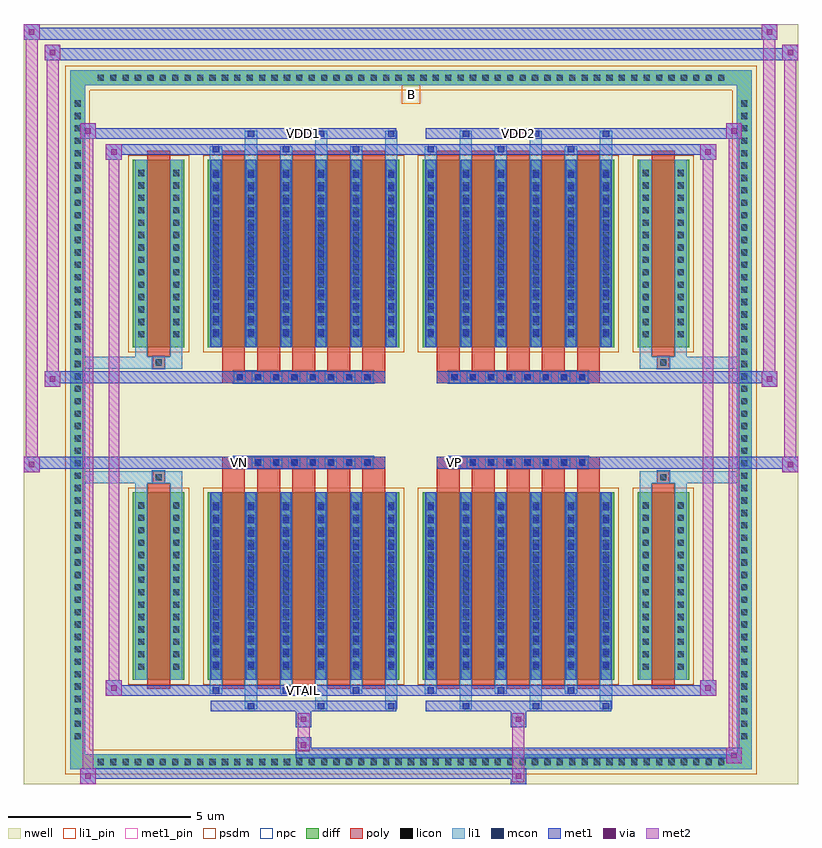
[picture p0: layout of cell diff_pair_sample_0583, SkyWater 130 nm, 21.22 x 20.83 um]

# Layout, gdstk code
import gdstk
lib = gdstk.Library(unit=1e-6, precision=5e-09)
def R(c, l, rs):  # rectangles x0, y0, x1, y1
    for r in rs: c.add(gdstk.rectangle(r[:2], r[2:], *l))
def A(c, l, x, y, w, h, nx, ny, dx, dy):  # array of equal rectangles
    R(c, l, [(x+i*dx, y+j*dy, x+i*dx+w, y+j*dy+h) for i in range(nx) for j in range(ny)])
def P(c, l, *ps):  # polygons
    for p in ps: c.add(gdstk.Polygon(p, *l))
nwell = (64, 20)
diff = (65, 20)
poly = (66, 20)
licon = (66, 44)
li1_pin = (67, 16)
li1 = (67, 20)
mcon = (67, 44)
met1_pin = (68, 16)
met1 = (68, 20)
via = (68, 44)
met2 = (69, 20)
psdm = (94, 20)
npc = (95, 20)

diff_pair_sample_0583 = lib.new_cell('diff_pair_sample_0583')
R(diff_pair_sample_0583, nwell, [(-10.61,-9.98,10.61,10.85), (-7.93,-8.17,-0.01,-0.805), (0.01,-8.17,7.93,-0.805), (-7.93,0.805,-0.01,8.17), (0.01,0.805,7.93,8.17)])
A(diff_pair_sample_0583, diff, -8.705, -9.58, 0.41, 0.41, 51, 2, 0.34, 18.75)
A(diff_pair_sample_0583, diff, -9.34, -8.875, 0.41, 0.41, 1, 52, 0, 0.34)
A(diff_pair_sample_0583, diff, 8.93, -8.875, 0.41, 0.41, 1, 52, 0, 0.34)
R(diff_pair_sample_0583, diff, [(-8.705,-9.58,8.705,-9.17), (-9.34,-8.875,-8.93,8.875), (8.93,-8.875,9.34,8.875), (-7.62,-7.125,-6.21,-1.985), (-5.57,-7.125,-0.32,-1.985), (0.32,-7.125,5.57,-1.985), (6.21,-7.125,7.62,-1.985), (-7.62,1.985,-6.21,7.125), (-5.57,1.985,-0.32,7.125), (0.32,1.985,5.57,7.125), (6.21,1.985,7.62,7.125), (-8.705,9.17,8.705,9.58)])
P(diff_pair_sample_0583, diff, [(9.34,9.58),(-9.34,9.58),(-9.34,-9.17),(-8.93,-9.17),(-8.93,9.17),(8.93,9.17),(8.93,-9.17),(-8.93,-9.17),(-9.34,-9.17),(-9.34,-9.58),(9.34,-9.58)])
A(diff_pair_sample_0583, poly, -5.18, -7.375, 0.63, 5.64, 5, 2, 0.96, 9.11)
A(diff_pair_sample_0583, poly, 0.71, -7.375, 0.63, 5.64, 5, 2, 0.96, 9.11)
A(diff_pair_sample_0583, poly, -5.18, -1.735, 0.63, 0.4, 5, 2, 0.96, 3.07)
A(diff_pair_sample_0583, poly, 0.71, -1.735, 0.63, 0.4, 5, 2, 0.96, 3.07)
A(diff_pair_sample_0583, poly, -4.86, -1.335, 0.33, 0.33, 8, 2, 0.5, 2.34)
A(diff_pair_sample_0583, poly, 1.03, -1.335, 0.33, 0.33, 8, 2, 0.5, 2.34)
R(diff_pair_sample_0583, poly, [(-7.23,-7.375,-6.6,-1.735), (6.6,-7.375,7.23,-1.735), (-7.08,-1.735,-6.75,-1.405), (-7.08,-1.735,-6.75,-1.405), (6.75,-1.735,7.08,-1.405), (6.75,-1.735,7.08,-1.405), (-5.18,-1.335,-0.71,-1.005), (0.71,-1.335,5.18,-1.005), (-5.18,1.005,-0.71,1.335), (0.71,1.005,5.18,1.335), (-7.08,1.405,-6.75,1.735), (-7.08,1.405,-6.75,1.735), (6.75,1.405,7.08,1.735), (6.75,1.405,7.08,1.735), (-7.23,1.735,-6.6,7.375), (6.6,1.735,7.23,7.375)])
A(diff_pair_sample_0583, licon, -8.585, -9.46, 0.17, 0.17, 51, 2, 0.34, 18.75)
A(diff_pair_sample_0583, licon, -9.22, -8.755, 0.17, 0.17, 1, 52, 0, 0.34)
A(diff_pair_sample_0583, licon, 9.05, -8.755, 0.17, 0.17, 1, 52, 0, 0.34)
A(diff_pair_sample_0583, licon, -7.48, -6.85, 0.17, 0.17, 1, 14, 0, 0.34)
A(diff_pair_sample_0583, licon, -6.52, -6.85, 0.17, 0.17, 1, 14, 0, 0.34)
A(diff_pair_sample_0583, licon, -5.43, -6.85, 0.17, 0.17, 6, 14, 0.96, 0.34)
A(diff_pair_sample_0583, licon, 0.46, -6.85, 0.17, 0.17, 6, 14, 0.96, 0.34)
A(diff_pair_sample_0583, licon, 6.35, -6.85, 0.17, 0.17, 1, 14, 0, 0.34)
A(diff_pair_sample_0583, licon, 7.31, -6.85, 0.17, 0.17, 1, 14, 0, 0.34)
A(diff_pair_sample_0583, licon, -4.78, -1.255, 0.17, 0.17, 8, 2, 0.5, 2.34)
A(diff_pair_sample_0583, licon, 1.11, -1.255, 0.17, 0.17, 8, 2, 0.5, 2.34)
A(diff_pair_sample_0583, licon, -7.48, 2.26, 0.17, 0.17, 1, 14, 0, 0.34)
A(diff_pair_sample_0583, licon, -6.52, 2.26, 0.17, 0.17, 1, 14, 0, 0.34)
A(diff_pair_sample_0583, licon, -5.43, 2.26, 0.17, 0.17, 6, 14, 0.96, 0.34)
A(diff_pair_sample_0583, licon, 0.46, 2.26, 0.17, 0.17, 6, 14, 0.96, 0.34)
A(diff_pair_sample_0583, licon, 6.35, 2.26, 0.17, 0.17, 1, 14, 0, 0.34)
A(diff_pair_sample_0583, licon, 7.31, 2.26, 0.17, 0.17, 1, 14, 0, 0.34)
R(diff_pair_sample_0583, licon, [(-7,-1.655,-6.83,-1.485), (6.83,-1.655,7,-1.485), (-7,1.485,-6.83,1.655), (6.83,1.485,7,1.655)])
R(diff_pair_sample_0583, li1_pin, [(-0.25,8.67,0.25,9.17)])
A(diff_pair_sample_0583, li1, -8.665, -9.54, 0.33, 0.33, 51, 2, 0.34, 18.75)
A(diff_pair_sample_0583, li1, -9.3, -8.835, 0.33, 0.33, 1, 52, 0, 0.34)
A(diff_pair_sample_0583, li1, 8.97, -8.835, 0.33, 0.33, 1, 52, 0, 0.34)
A(diff_pair_sample_0583, li1, -4.55, -7.93, 0.33, 0.805, 3, 2, 1.92, 15.055)
A(diff_pair_sample_0583, li1, -4.47, -7.93, 0.17, 0.17, 3, 2, 1.92, 15.69)
A(diff_pair_sample_0583, li1, 1.34, -7.93, 0.33, 0.805, 3, 2, 1.92, 15.055)
A(diff_pair_sample_0583, li1, 1.42, -7.93, 0.17, 0.17, 3, 2, 1.92, 15.69)
A(diff_pair_sample_0583, li1, -5.51, -7.5, 0.33, 0.375, 3, 2, 1.92, 14.625)
A(diff_pair_sample_0583, li1, -5.43, -7.5, 0.17, 0.17, 3, 2, 1.92, 14.83)
A(diff_pair_sample_0583, li1, 0.38, -7.5, 0.33, 0.375, 3, 2, 1.92, 14.625)
A(diff_pair_sample_0583, li1, 0.46, -7.5, 0.17, 0.17, 3, 2, 1.92, 14.83)
A(diff_pair_sample_0583, li1, -5.51, -7.125, 0.33, 5.14, 6, 2, 0.96, 9.11)
A(diff_pair_sample_0583, li1, 0.38, -7.125, 0.33, 5.14, 6, 2, 0.96, 9.11)
A(diff_pair_sample_0583, li1, -7.56, -6.93, 0.33, 0.33, 1, 14, 0, 0.34)
A(diff_pair_sample_0583, li1, -6.6, -6.93, 0.33, 0.33, 1, 14, 0, 0.34)
A(diff_pair_sample_0583, li1, -5.51, -6.93, 0.33, 0.33, 6, 14, 0.96, 0.34)
A(diff_pair_sample_0583, li1, 0.38, -6.93, 0.33, 0.33, 6, 14, 0.96, 0.34)
A(diff_pair_sample_0583, li1, 6.27, -6.93, 0.33, 0.33, 1, 14, 0, 0.34)
A(diff_pair_sample_0583, li1, 7.23, -6.93, 0.33, 0.33, 1, 14, 0, 0.34)
A(diff_pair_sample_0583, li1, -5.43, -6.8, 0.17, 0.17, 6, 13, 0.96, 0.36)
A(diff_pair_sample_0583, li1, -5.43, -6.8, 0.17, 4.49, 6, 2, 0.96, 9.11)
A(diff_pair_sample_0583, li1, 0.46, -6.8, 0.17, 0.17, 6, 13, 0.96, 0.36)
A(diff_pair_sample_0583, li1, 0.46, -6.8, 0.17, 4.49, 6, 2, 0.96, 9.11)
A(diff_pair_sample_0583, li1, -4.86, -1.335, 0.33, 0.33, 8, 2, 0.5, 2.34)
A(diff_pair_sample_0583, li1, 1.03, -1.335, 0.33, 0.33, 8, 2, 0.5, 2.34)
A(diff_pair_sample_0583, li1, -7.56, 2.18, 0.33, 0.33, 1, 14, 0, 0.34)
A(diff_pair_sample_0583, li1, -6.6, 2.18, 0.33, 0.33, 1, 14, 0, 0.34)
A(diff_pair_sample_0583, li1, -5.51, 2.18, 0.33, 0.33, 6, 14, 0.96, 0.34)
A(diff_pair_sample_0583, li1, 0.38, 2.18, 0.33, 0.33, 6, 14, 0.96, 0.34)
A(diff_pair_sample_0583, li1, 6.27, 2.18, 0.33, 0.33, 1, 14, 0, 0.34)
A(diff_pair_sample_0583, li1, 7.23, 2.18, 0.33, 0.33, 1, 14, 0, 0.34)
A(diff_pair_sample_0583, li1, -5.43, 2.31, 0.17, 0.17, 6, 13, 0.96, 0.36)
A(diff_pair_sample_0583, li1, 0.46, 2.31, 0.17, 0.17, 6, 13, 0.96, 0.36)
R(diff_pair_sample_0583, li1, [(-9.34,-9.58,-8.93,-9.17), (-9.34,-9.58,-8.93,-9.17), (-8.93,-9.58,8.93,-9.17), (8.93,-9.58,9.34,-9.17), (8.93,-9.58,9.34,-9.17), (-9.34,-9.17,-8.93,9.17), (8.93,-9.17,9.34,9.17), (-7.56,-7.125,-7.23,-1.985), (-6.6,-7.125,-6.27,-1.985), (6.27,-7.125,6.6,-1.985), (7.23,-7.125,7.56,-1.985), (-7.56,-1.985,-7.23,-1.405), (-6.6,-1.985,-6.27,-1.405), (6.27,-1.985,6.6,-1.405), (7.23,-1.985,7.56,-1.405), (-9.34,-1.735,-7.08,-1.405), (-7.56,-1.735,-7.08,-1.405), (-7.08,-1.735,-6.75,-1.405), (-6.75,-1.735,-6.27,-1.405), (6.27,-1.735,6.75,-1.405), (6.75,-1.735,7.08,-1.405), (6.75,-1.735,9.34,-1.405), (7.08,-1.735,7.56,-1.405), (-9.34,1.405,-7.08,1.735), (-7.56,1.405,-7.08,1.735), (-7.56,1.405,-7.23,1.985), (-7.08,1.405,-6.75,1.735), (-6.75,1.405,-6.27,1.735), (-6.6,1.405,-6.27,1.985), (6.27,1.405,6.75,1.735), (6.27,1.405,6.6,1.985), (6.75,1.405,7.08,1.735), (6.75,1.405,9.34,1.735), (7.08,1.405,7.56,1.735), (7.23,1.405,7.56,1.985), (-7.56,1.985,-7.23,7.125), (-6.6,1.985,-6.27,7.125), (6.27,1.985,6.6,7.125), (7.23,1.985,7.56,7.125), (-9.34,9.17,-8.93,9.58), (-9.34,9.17,-8.93,9.58), (-8.93,9.17,8.93,9.58), (8.93,9.17,9.34,9.58), (8.93,9.17,9.34,9.58)])
A(diff_pair_sample_0583, mcon, -4.47, -7.93, 0.17, 0.17, 3, 2, 1.92, 15.69)
A(diff_pair_sample_0583, mcon, 1.42, -7.93, 0.17, 0.17, 3, 2, 1.92, 15.69)
A(diff_pair_sample_0583, mcon, -5.43, -7.5, 0.17, 0.17, 3, 2, 1.92, 14.83)
A(diff_pair_sample_0583, mcon, 0.46, -7.5, 0.17, 0.17, 3, 2, 1.92, 14.83)
A(diff_pair_sample_0583, mcon, -5.43, -6.8, 0.17, 0.17, 6, 13, 0.96, 0.36)
A(diff_pair_sample_0583, mcon, 0.46, -6.8, 0.17, 0.17, 6, 13, 0.96, 0.36)
A(diff_pair_sample_0583, mcon, -4.78, -1.255, 0.17, 0.17, 8, 2, 0.5, 2.34)
A(diff_pair_sample_0583, mcon, 1.11, -1.255, 0.17, 0.17, 8, 2, 0.5, 2.34)
A(diff_pair_sample_0583, mcon, -5.43, 2.31, 0.17, 0.17, 6, 13, 0.96, 0.36)
A(diff_pair_sample_0583, mcon, 0.46, 2.31, 0.17, 0.17, 6, 13, 0.96, 0.36)
R(diff_pair_sample_0583, met1_pin, [(-3.08,-7.54,-2.81,-7.27), (-4.83,-1.295,-4.56,-1.025), (1.06,-1.295,1.33,-1.025), (-3.08,7.72,-2.81,7.99), (2.81,7.72,3.08,7.99)])
A(diff_pair_sample_0583, met1, -4.53, -7.99, 0.29, 0.29, 3, 2, 1.92, 15.69)
A(diff_pair_sample_0583, met1, 1.36, -7.99, 0.29, 0.29, 3, 2, 1.92, 15.69)
A(diff_pair_sample_0583, met1, -5.49, -7.56, 0.29, 0.29, 3, 2, 1.92, 14.83)
A(diff_pair_sample_0583, met1, 0.4, -7.56, 0.29, 0.29, 3, 2, 1.92, 14.83)
A(diff_pair_sample_0583, met1, -5.49, -7.125, 0.29, 5.14, 6, 2, 0.96, 9.11)
A(diff_pair_sample_0583, met1, 0.4, -7.125, 0.29, 5.14, 6, 2, 0.96, 9.11)
A(diff_pair_sample_0583, met1, -5.49, -6.86, 0.29, 0.29, 6, 13, 0.96, 0.36)
A(diff_pair_sample_0583, met1, 0.4, -6.86, 0.29, 0.29, 6, 13, 0.96, 0.36)
A(diff_pair_sample_0583, met1, -4.84, -1.315, 0.29, 0.29, 8, 2, 0.5, 2.34)
A(diff_pair_sample_0583, met1, 1.05, -1.315, 0.29, 0.29, 8, 2, 0.5, 2.34)
A(diff_pair_sample_0583, met1, -5.49, 2.25, 0.29, 0.29, 6, 13, 0.96, 0.36)
A(diff_pair_sample_0583, met1, 0.4, 2.25, 0.29, 0.29, 6, 13, 0.96, 0.36)
R(diff_pair_sample_0583, met1, [(-9.07,-9.98,-8.64,-9.55), (2.73,-9.98,3.16,-9.55), (-9.07,-9.84,3.16,-9.55), (8.64,-9.41,9.07,-8.98), (-3.16,-9.27,9.07,-8.98), (-3.16,-9.13,-2.73,-8.7), (-3.16,-8.42,-2.73,-7.99), (2.73,-8.42,3.16,-7.99), (-5.49,-7.99,-0.4,-7.7), (0.4,-7.99,5.49,-7.7), (-8.36,-7.56,-7.93,-7.13), (-8.36,-7.56,-5.49,-7.27), (-5.49,-7.56,-0.4,-7.27), (-0.4,-7.56,0.4,-7.27), (0.4,-7.56,5.49,-7.27), (5.49,-7.56,8.36,-7.27), (7.93,-7.56,8.36,-7.13), (-10.61,-1.435,-10.18,-1.005), (10.18,-1.435,10.61,-1.005), (-10.61,-1.335,-0.71,-1.005), (-5.18,-1.335,-0.71,-1.005), (0.71,-1.335,5.18,-1.005), (0.71,-1.335,10.61,-1.005), (-10.04,0.905,-9.61,1.335), (9.61,0.905,10.04,1.335), (-10.04,1.005,-5.18,1.335), (-5.18,1.005,-0.71,1.335), (0.71,1.005,5.18,1.335), (5.18,1.005,10.04,1.335), (-8.36,7.13,-7.93,7.56), (7.93,7.13,8.36,7.56), (-8.36,7.27,-5.49,7.56), (-5.49,7.27,-0.4,7.56), (-0.4,7.27,0.4,7.56), (0.4,7.27,5.49,7.56), (5.49,7.27,8.36,7.56), (-9.07,7.7,-8.64,8.13), (-9.07,7.7,-5.49,7.99), (-5.49,7.7,-0.4,7.99), (0.4,7.7,5.49,7.99), (5.49,7.7,9.07,7.99), (8.64,7.7,9.07,8.13), (-10.04,9.85,-9.61,10.28), (-10.04,9.85,-7.93,10.18), (-7.93,9.85,7.93,10.18), (7.93,9.85,10.61,10.18), (10.18,9.85,10.61,10.28), (-10.61,10.42,-10.18,10.85), (-10.61,10.42,-7.93,10.75), (-7.93,10.42,7.93,10.75), (7.93,10.42,10.04,10.75), (9.61,10.42,10.04,10.85)])
R(diff_pair_sample_0583, via, [(-8.93,-9.84,-8.78,-9.69), (2.87,-9.84,3.02,-9.69), (8.78,-9.27,8.93,-9.12), (-3.02,-8.99,-2.87,-8.84), (-3.02,-8.28,-2.87,-8.13), (2.87,-8.28,3.02,-8.13), (-8.22,-7.42,-8.07,-7.27), (8.07,-7.42,8.22,-7.27), (-10.47,-1.295,-10.32,-1.145), (10.32,-1.295,10.47,-1.145), (-9.9,1.045,-9.75,1.195), (9.75,1.045,9.9,1.195), (-8.22,7.27,-8.07,7.42), (8.07,7.27,8.22,7.42), (-8.93,7.84,-8.78,7.99), (8.78,7.84,8.93,7.99), (-9.9,9.99,-9.75,10.14), (10.32,9.99,10.47,10.14), (-10.47,10.56,-10.32,10.71), (9.75,10.56,9.9,10.71)])
R(diff_pair_sample_0583, met2, [(-9.07,-9.98,-8.64,-9.55), (-9,-9.98,-8.71,8.13), (-8.71,-9.98,-8.64,-9.55), (-9.02,-9.93,-8.69,-9.6), (2.78,-9.93,3.11,-9.6), (2.78,-9.6,3.11,-8.37), (8.64,-9.41,9.07,-8.98), (8.71,-9.41,9,8.13), (9,-9.41,9.07,-8.98), (8.69,-9.36,9.02,-9.03), (-3.11,-9.08,-2.78,-8.75), (-3.11,-8.75,-2.78,-8.37), (-3.11,-8.37,-2.78,-8.04), (2.78,-8.37,3.11,-8.04), (-8.36,-7.56,-7.93,-7.13), (-8.29,-7.56,-8,7.56), (-8,-7.56,-7.93,-7.13), (7.93,-7.56,8.36,-7.13), (8,-7.56,8.29,7.56), (8.29,-7.56,8.36,-7.13), (-8.31,-7.51,-7.98,-7.18), (7.98,-7.51,8.31,-7.18), (-10.61,-1.435,-10.18,-1.005), (-10.56,-1.435,-10.23,10.85), (-10.23,-1.435,-10.18,-1.005), (10.18,-1.435,10.61,-1.005), (10.23,-1.435,10.56,10.28), (10.56,-1.435,10.61,-1.005), (-10.56,-1.385,-10.23,-1.055), (10.23,-1.385,10.56,-1.055), (-10.04,0.905,-9.61,1.335), (-9.99,0.905,-9.66,10.28), (-9.66,0.905,-9.61,1.335), (9.61,0.905,10.04,1.335), (9.66,0.905,9.99,10.85), (9.99,0.905,10.04,1.335), (-9.99,0.955,-9.66,1.285), (9.66,0.955,9.99,1.285), (-8.36,7.13,-7.93,7.56), (-8,7.13,-7.93,7.56), (7.93,7.13,8.36,7.56), (8.29,7.13,8.36,7.56), (-8.31,7.18,-7.98,7.51), (7.98,7.18,8.31,7.51), (-9.07,7.7,-8.64,8.13), (-8.71,7.7,-8.64,8.13), (8.64,7.7,9.07,8.13), (9,7.7,9.07,8.13), (-9.02,7.75,-8.69,8.08), (8.69,7.75,9.02,8.08), (-10.04,9.85,-9.61,10.28), (-9.66,9.85,-9.61,10.28), (10.18,9.85,10.61,10.28), (10.56,9.85,10.61,10.28), (-9.99,9.9,-9.66,10.23), (10.23,9.9,10.56,10.23), (-10.61,10.42,-10.18,10.85), (-10.23,10.42,-10.18,10.85), (9.61,10.42,10.04,10.85), (9.99,10.42,10.04,10.85), (-10.56,10.47,-10.23,10.8), (9.66,10.47,9.99,10.8)])
R(diff_pair_sample_0583, psdm, [(-7.75,-7.255,-6.08,-1.855), (-5.7,-7.255,-0.19,-1.855), (0.19,-7.255,5.7,-1.855), (6.08,-7.255,7.75,-1.855), (-7.75,1.855,-6.08,7.255), (-5.7,1.855,-0.19,7.255), (0.19,1.855,5.7,7.255), (6.08,1.855,7.75,7.255)])
P(diff_pair_sample_0583, psdm, [(9.47,9.71),(-9.47,9.71),(-9.47,-9.04),(-8.8,-9.04),(-8.8,9.04),(8.8,9.04),(8.8,-9.04),(-8.8,-9.04),(-9.47,-9.04),(-9.47,-9.71),(9.47,-9.71)])
A(diff_pair_sample_0583, npc, -4.88, -1.355, 0.37, 0.37, 8, 2, 0.5, 2.34)
A(diff_pair_sample_0583, npc, 1.01, -1.355, 0.37, 0.37, 8, 2, 0.5, 2.34)
R(diff_pair_sample_0583, npc, [(-7.1,-1.755,-6.73,-1.385), (6.73,-1.755,7.1,-1.385), (-4.88,-1.355,-4.01,-0.985), (-4.88,-1.355,-4.01,-0.985), (-4.38,-1.355,-3.51,-0.985), (-4.38,-1.355,-3.51,-0.985), (-3.88,-1.355,-3.01,-0.985), (-3.88,-1.355,-3.01,-0.985), (-3.38,-1.355,-2.51,-0.985), (-3.38,-1.355,-2.51,-0.985), (-2.88,-1.355,-2.01,-0.985), (-2.88,-1.355,-2.01,-0.985), (-2.38,-1.355,-1.51,-0.985), (-2.38,-1.355,-1.51,-0.985), (-1.88,-1.355,-1.01,-0.985), (-1.88,-1.355,-1.01,-0.985), (1.01,-1.355,1.88,-0.985), (1.01,-1.355,1.88,-0.985), (1.51,-1.355,2.38,-0.985), (1.51,-1.355,2.38,-0.985), (2.01,-1.355,2.88,-0.985), (2.01,-1.355,2.88,-0.985), (2.51,-1.355,3.38,-0.985), (2.51,-1.355,3.38,-0.985), (3.01,-1.355,3.88,-0.985), (3.01,-1.355,3.88,-0.985), (3.51,-1.355,4.38,-0.985), (3.51,-1.355,4.38,-0.985), (4.01,-1.355,4.88,-0.985), (4.01,-1.355,4.88,-0.985), (-4.88,0.985,-4.01,1.355), (-4.88,0.985,-4.01,1.355), (-4.38,0.985,-3.51,1.355), (-4.38,0.985,-3.51,1.355), (-3.88,0.985,-3.01,1.355), (-3.88,0.985,-3.01,1.355), (-3.38,0.985,-2.51,1.355), (-3.38,0.985,-2.51,1.355), (-2.88,0.985,-2.01,1.355), (-2.88,0.985,-2.01,1.355), (-2.38,0.985,-1.51,1.355), (-2.38,0.985,-1.51,1.355), (-1.88,0.985,-1.01,1.355), (-1.88,0.985,-1.01,1.355), (1.01,0.985,1.88,1.355), (1.01,0.985,1.88,1.355), (1.51,0.985,2.38,1.355), (1.51,0.985,2.38,1.355), (2.01,0.985,2.88,1.355), (2.01,0.985,2.88,1.355), (2.51,0.985,3.38,1.355), (2.51,0.985,3.38,1.355), (3.01,0.985,3.88,1.355), (3.01,0.985,3.88,1.355), (3.51,0.985,4.38,1.355), (3.51,0.985,4.38,1.355), (4.01,0.985,4.88,1.355), (4.01,0.985,4.88,1.355), (-7.1,1.385,-6.73,1.755), (6.73,1.385,7.1,1.755)])
diff_pair_sample_0583.add(gdstk.Label('VTAIL', (-2.945,-7.405), layer=68, texttype=5))
diff_pair_sample_0583.add(gdstk.Label('VN', (-4.695,-1.16), layer=68, texttype=5))
diff_pair_sample_0583.add(gdstk.Label('VP', (1.195,-1.16), layer=68, texttype=5))
diff_pair_sample_0583.add(gdstk.Label('B', (0,8.92), layer=67, texttype=5))
diff_pair_sample_0583.add(gdstk.Label('VDD2', (2.945,7.855), layer=68, texttype=5))
diff_pair_sample_0583.add(gdstk.Label('VDD1', (-2.945,7.855), layer=68, texttype=5))

lib.write_gds('diff_pair_sample_0583.gds')
